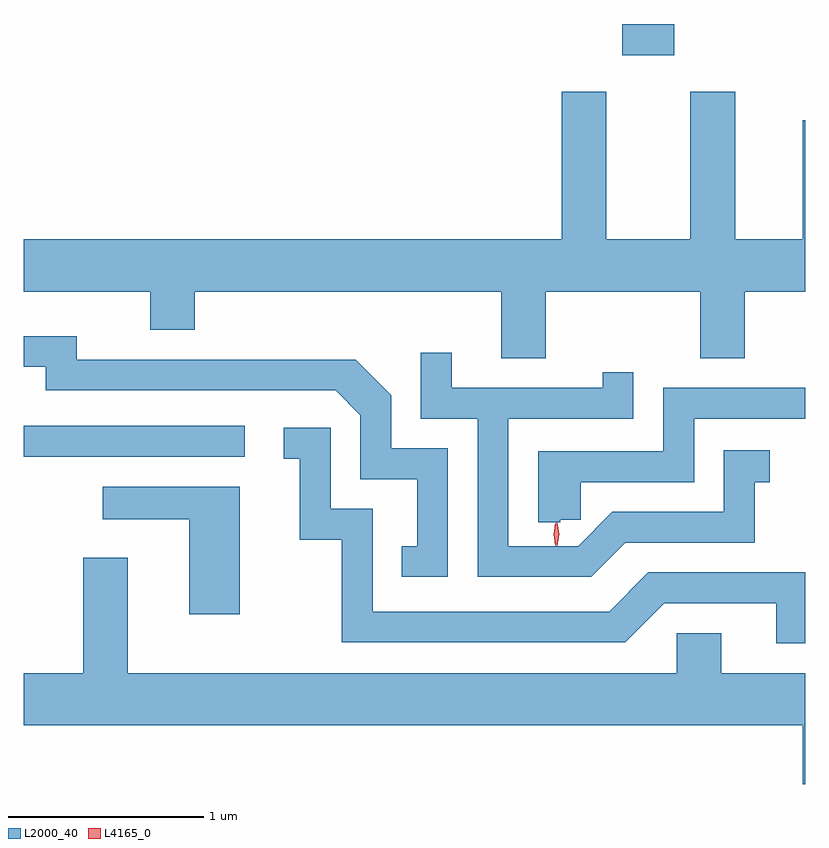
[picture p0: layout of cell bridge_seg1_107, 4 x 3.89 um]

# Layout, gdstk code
import gdstk
lib = gdstk.Library(unit=1e-6, precision=1e-09)
def R(c, l, rs):  # rectangles x0, y0, x1, y1
    for r in rs: c.add(gdstk.rectangle(r[:2], r[2:], *l))
def P(c, l, *ps):  # polygons
    for p in ps: c.add(gdstk.Polygon(p, *l))
L2000_40 = (2000, 40)
L4165_0 = (4165, 0)

bridge_seg1_107 = lib.new_cell('bridge_seg1_107')
R(bridge_seg1_107, L2000_40, [(1389.908,869.871,1391.038,870.029), (1392.971,871.926,1393.239,872.087)])
P(bridge_seg1_107, L2000_40, [(1392.579,870.716),(1393.371,870.716),(1393.371,870.376),(1393.599,870.376),(1393.599,870.716),(1393.908,870.716),(1393.908,871.594),(1393.896,871.594),(1393.896,870.984),(1393.549,870.984),(1393.549,871.739),(1393.321,871.739),(1393.321,870.984),(1392.889,870.984),(1392.889,871.739),(1392.661,871.739),(1392.661,870.984),(1389.908,870.984),(1389.908,870.716),(1390.556,870.716),(1390.556,870.521),(1390.784,870.521),(1390.784,870.716),(1392.351,870.716),(1392.351,870.376),(1392.579,870.376)],
  [(1392.079,869.914),(1391.789,869.914),(1391.789,870.187),(1391.607,870.369),(1390.179,870.369),(1390.179,870.489),(1389.908,870.489),(1389.908,870.331),(1390.021,870.331),(1390.021,870.211),(1391.504,870.211),(1391.631,870.084),(1391.631,869.756),(1391.921,869.756),(1391.921,869.414),(1391.843,869.414),(1391.843,869.256),(1392.079,869.256)],
  [(1392.987,869.431),(1393.649,869.431),(1393.649,869.741),(1393.728,869.741),(1393.728,869.904),(1393.491,869.904),(1393.491,869.589),(1392.921,869.589),(1392.746,869.414),(1392.389,869.414),(1392.389,870.066),(1393.029,870.066),(1393.029,870.303),(1392.871,870.303),(1392.871,870.224),(1392.099,870.224),(1392.099,870.403),(1391.941,870.403),(1391.941,870.066),(1392.231,870.066),(1392.231,869.256),(1392.812,869.256)],
  [(1392.655,869.55),(1392.758,869.55),(1392.758,869.741),(1393.339,869.741),(1393.339,870.066),(1393.908,870.066),(1393.908,870.224),(1393.181,870.224),(1393.181,869.899),(1392.541,869.899),(1392.541,869.536),(1392.655,869.536)],
  [(1393.908,869.279),(1393.104,869.279),(1392.904,869.079),(1391.694,869.079),(1391.694,869.604),(1391.479,869.604),(1391.479,870.019),(1391.238,870.019),(1391.238,869.861),(1391.321,869.861),(1391.321,869.446),(1391.536,869.446),(1391.536,868.921),(1392.987,868.921),(1393.187,869.121),(1393.761,869.121),(1393.761,868.916),(1393.908,868.916)],
  [(1391.014,869.719),(1390.313,869.719),(1390.313,869.551),(1390.756,869.551),(1390.756,869.066),(1391.014,869.066)],
  [(1393.908,868.764),(1393.479,868.764),(1393.479,868.969),(1393.251,868.969),(1393.251,868.764),(1390.439,868.764),(1390.439,869.354),(1390.211,869.354),(1390.211,868.764),(1389.908,868.764),(1389.908,868.496),(1393.896,868.496),(1393.896,868.196),(1393.908,868.196)])
P(bridge_seg1_107, L4165_0, [(1392.637,869.416),(1392.628,869.475),(1392.637,869.534),(1392.638,869.535),(1392.638,869.534),(1392.648,869.475),(1392.638,869.416),(1392.638,869.416)],
  [(1392.63,869.418),(1392.629,869.419),(1392.62,869.475),(1392.629,869.532),(1392.63,869.532),(1392.63,869.532),(1392.64,869.475),(1392.63,869.419)])

lib.write_gds('bridge_seg1_107.gds')
